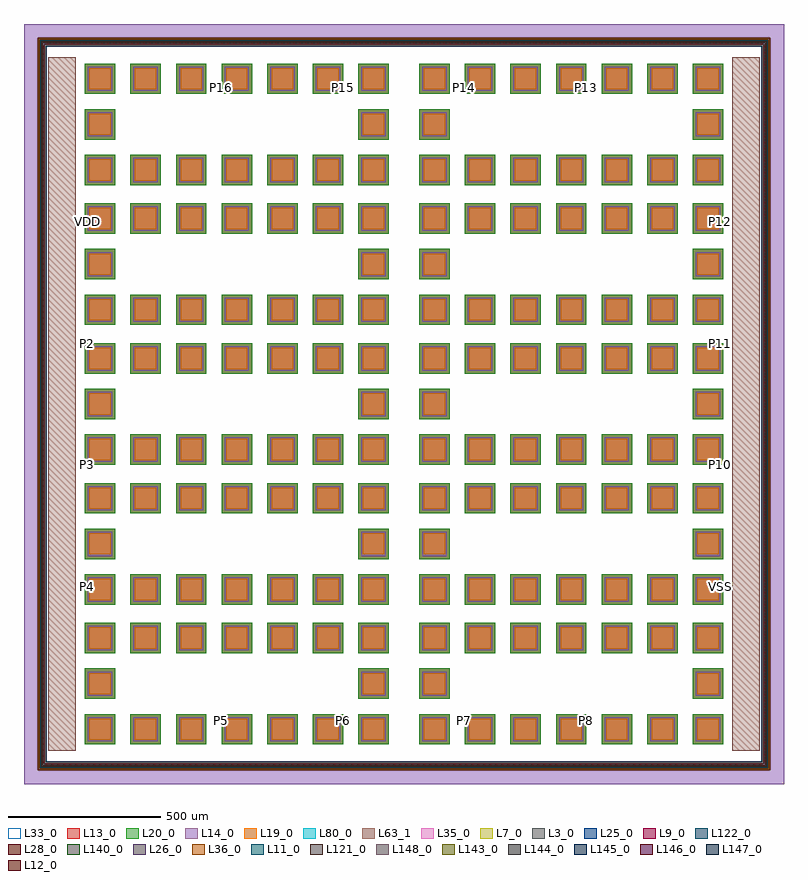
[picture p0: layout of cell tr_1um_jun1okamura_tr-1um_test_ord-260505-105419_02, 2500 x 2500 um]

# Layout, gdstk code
import gdstk
lib = gdstk.Library(unit=1e-6, precision=1e-09)
def R(c, l, rs):  # rectangles x0, y0, x1, y1
    for r in rs: c.add(gdstk.rectangle(r[:2], r[2:], *l))
def A(c, l, x, y, w, h, nx, ny, dx, dy):  # array of equal rectangles
    R(c, l, [(x+i*dx, y+j*dy, x+i*dx+w, y+j*dy+h) for i in range(nx) for j in range(ny)])
def P(c, l, *ps):  # polygons
    for p in ps: c.add(gdstk.Polygon(p, *l))
L3_0 = (3, 0)
L7_0 = (7, 0)
L9_0 = (9, 0)
L11_0 = (11, 0)
L12_0 = (12, 0)
L13_0 = (13, 0)
L14_0 = (14, 0)
L19_0 = (19, 0)
L20_0 = (20, 0)
L25_0 = (25, 0)
L26_0 = (26, 0)
L28_0 = (28, 0)
L33_0 = (33, 0)
L35_0 = (35, 0)
L36_0 = (36, 0)
L63_1 = (63, 1)
L80_0 = (80, 0)
L121_0 = (121, 0)
L122_0 = (122, 0)
L140_0 = (140, 0)
L143_0 = (143, 0)
L144_0 = (144, 0)
L145_0 = (145, 0)
L146_0 = (146, 0)
L147_0 = (147, 0)
L148_0 = (148, 0)

tr_1um_jun1okamura_tr_1u = lib.new_cell('tr_1um_jun1okamura_tr-1um_test_ord-260505-105419_02')
P(tr_1um_jun1okamura_tr_1u, L3_0, [(-1203,-1203),(-1203,1183),(-1183,1183),(-1183,-1183),(1183,-1183),(1183,1183),(-1203,1183),(-1203,1203),(1203,1203),(1203,-1203)])
P(tr_1um_jun1okamura_tr_1u, L7_0, [(-1205,-1205),(-1205,1181),(-1181,1181),(-1181,-1181),(1181,-1181),(1181,1181),(-1205,1181),(-1205,1205),(1205,1205),(1205,-1205)])
P(tr_1um_jun1okamura_tr_1u, L9_0, [(-1205,-1205),(-1205,1191.25),(-1191.25,1191.25),(-1191.25,-1191.25),(1191.25,-1191.25),(1191.25,1191.25),(-1205,1191.25),(-1205,1205),(1205,1205),(1205,-1205)])
R(tr_1um_jun1okamura_tr_1u, L11_0, [(-1195,-1195,-1189,1195), (-1195,-1195,1195,-1189), (1189,-1195,1195,1195), (-1195,1189,1195,1195)])
P(tr_1um_jun1okamura_tr_1u, L12_0, [(-1179,-1179),(-1179,1176.4),(-1176.4,1176.4),(-1176.4,-1176.4),(1176.4,-1176.4),(1176.4,1176.4),(-1179,1176.4),(-1179,1179),(1179,1179),(1179,-1179)])
A(tr_1um_jun1okamura_tr_1u, L13_0, -1050, -1120, 100, 100, 7, 2, 150, 300)
A(tr_1um_jun1okamura_tr_1u, L13_0, 50, -1120, 100, 100, 7, 2, 150, 300)
A(tr_1um_jun1okamura_tr_1u, L13_0, -1050, -970, 100, 100, 1, 5, 0, 460)
A(tr_1um_jun1okamura_tr_1u, L13_0, -150, -970, 100, 100, 1, 5, 0, 460)
A(tr_1um_jun1okamura_tr_1u, L13_0, 50, -970, 100, 100, 1, 5, 0, 460)
A(tr_1um_jun1okamura_tr_1u, L13_0, 950, -970, 100, 100, 1, 5, 0, 460)
A(tr_1um_jun1okamura_tr_1u, L13_0, -1050, -660, 100, 100, 7, 2, 150, 300)
A(tr_1um_jun1okamura_tr_1u, L13_0, 50, -660, 100, 100, 7, 2, 150, 300)
A(tr_1um_jun1okamura_tr_1u, L13_0, -1050, -200, 100, 100, 7, 2, 150, 300)
A(tr_1um_jun1okamura_tr_1u, L13_0, 50, -200, 100, 100, 7, 2, 150, 300)
A(tr_1um_jun1okamura_tr_1u, L13_0, -1050, 260, 100, 100, 7, 2, 150, 300)
A(tr_1um_jun1okamura_tr_1u, L13_0, 50, 260, 100, 100, 7, 2, 150, 300)
A(tr_1um_jun1okamura_tr_1u, L13_0, -1050, 720, 100, 100, 7, 2, 150, 300)
A(tr_1um_jun1okamura_tr_1u, L13_0, 50, 720, 100, 100, 7, 2, 150, 300)
R(tr_1um_jun1okamura_tr_1u, L13_0, [(-1198,-1198,-1183,1198), (-1198,-1198,1198,-1183), (1183,-1198,1198,1198), (-1198,1183,1198,1198)])
A(tr_1um_jun1okamura_tr_1u, L14_0, -1040, -1110, 80, 80, 7, 2, 150, 300)
A(tr_1um_jun1okamura_tr_1u, L14_0, 60, -1110, 80, 80, 7, 2, 150, 300)
A(tr_1um_jun1okamura_tr_1u, L14_0, -1040, -960, 80, 80, 1, 5, 0, 460)
A(tr_1um_jun1okamura_tr_1u, L14_0, -140, -960, 80, 80, 1, 5, 0, 460)
A(tr_1um_jun1okamura_tr_1u, L14_0, 60, -960, 80, 80, 1, 5, 0, 460)
A(tr_1um_jun1okamura_tr_1u, L14_0, 960, -960, 80, 80, 1, 5, 0, 460)
A(tr_1um_jun1okamura_tr_1u, L14_0, -1040, -650, 80, 80, 7, 2, 150, 300)
A(tr_1um_jun1okamura_tr_1u, L14_0, 60, -650, 80, 80, 7, 2, 150, 300)
A(tr_1um_jun1okamura_tr_1u, L14_0, -1040, -190, 80, 80, 7, 2, 150, 300)
A(tr_1um_jun1okamura_tr_1u, L14_0, 60, -190, 80, 80, 7, 2, 150, 300)
A(tr_1um_jun1okamura_tr_1u, L14_0, -1040, 270, 80, 80, 7, 2, 150, 300)
A(tr_1um_jun1okamura_tr_1u, L14_0, 60, 270, 80, 80, 7, 2, 150, 300)
A(tr_1um_jun1okamura_tr_1u, L14_0, -1040, 730, 80, 80, 7, 2, 150, 300)
A(tr_1um_jun1okamura_tr_1u, L14_0, 60, 730, 80, 80, 7, 2, 150, 300)
R(tr_1um_jun1okamura_tr_1u, L14_0, [(-1250,-1250,-1205,1250), (-1250,-1250,1250,-1205), (1205,-1250,1250,1250), (-1250,1205,1250,1250)])
A(tr_1um_jun1okamura_tr_1u, L19_0, -1035, -1105, 70, 70, 7, 2, 150, 300)
A(tr_1um_jun1okamura_tr_1u, L19_0, 65, -1105, 70, 70, 7, 2, 150, 300)
A(tr_1um_jun1okamura_tr_1u, L19_0, -1035, -955, 70, 70, 1, 5, 0, 460)
A(tr_1um_jun1okamura_tr_1u, L19_0, -135, -955, 70, 70, 1, 5, 0, 460)
A(tr_1um_jun1okamura_tr_1u, L19_0, 65, -955, 70, 70, 1, 5, 0, 460)
A(tr_1um_jun1okamura_tr_1u, L19_0, 965, -955, 70, 70, 1, 5, 0, 460)
A(tr_1um_jun1okamura_tr_1u, L19_0, -1035, -645, 70, 70, 7, 2, 150, 300)
A(tr_1um_jun1okamura_tr_1u, L19_0, 65, -645, 70, 70, 7, 2, 150, 300)
A(tr_1um_jun1okamura_tr_1u, L19_0, -1035, -185, 70, 70, 7, 2, 150, 300)
A(tr_1um_jun1okamura_tr_1u, L19_0, 65, -185, 70, 70, 7, 2, 150, 300)
A(tr_1um_jun1okamura_tr_1u, L19_0, -1035, 275, 70, 70, 7, 2, 150, 300)
A(tr_1um_jun1okamura_tr_1u, L19_0, 65, 275, 70, 70, 7, 2, 150, 300)
A(tr_1um_jun1okamura_tr_1u, L19_0, -1035, 735, 70, 70, 7, 2, 150, 300)
A(tr_1um_jun1okamura_tr_1u, L19_0, 65, 735, 70, 70, 7, 2, 150, 300)
R(tr_1um_jun1okamura_tr_1u, L19_0, [(-1187,-1187,-1185,1187), (-1187,-1187,1187,-1185), (1185,-1187,1187,1187), (-1187,1185,1187,1187)])
A(tr_1um_jun1okamura_tr_1u, L20_0, -1050, -1120, 100, 100, 7, 2, 150, 300)
A(tr_1um_jun1okamura_tr_1u, L20_0, 50, -1120, 100, 100, 7, 2, 150, 300)
A(tr_1um_jun1okamura_tr_1u, L20_0, -1050, -970, 100, 100, 1, 5, 0, 460)
A(tr_1um_jun1okamura_tr_1u, L20_0, -150, -970, 100, 100, 1, 5, 0, 460)
A(tr_1um_jun1okamura_tr_1u, L20_0, 50, -970, 100, 100, 1, 5, 0, 460)
A(tr_1um_jun1okamura_tr_1u, L20_0, 950, -970, 100, 100, 1, 5, 0, 460)
A(tr_1um_jun1okamura_tr_1u, L20_0, -1050, -660, 100, 100, 7, 2, 150, 300)
A(tr_1um_jun1okamura_tr_1u, L20_0, 50, -660, 100, 100, 7, 2, 150, 300)
A(tr_1um_jun1okamura_tr_1u, L20_0, -1050, -200, 100, 100, 7, 2, 150, 300)
A(tr_1um_jun1okamura_tr_1u, L20_0, 50, -200, 100, 100, 7, 2, 150, 300)
A(tr_1um_jun1okamura_tr_1u, L20_0, -1050, 260, 100, 100, 7, 2, 150, 300)
A(tr_1um_jun1okamura_tr_1u, L20_0, 50, 260, 100, 100, 7, 2, 150, 300)
A(tr_1um_jun1okamura_tr_1u, L20_0, -1050, 720, 100, 100, 7, 2, 150, 300)
A(tr_1um_jun1okamura_tr_1u, L20_0, 50, 720, 100, 100, 7, 2, 150, 300)
R(tr_1um_jun1okamura_tr_1u, L20_0, [(-1196,-1196,-1183,1196), (-1196,-1196,1196,-1183), (1183,-1196,1196,1196), (-1196,1183,1196,1196)])
R(tr_1um_jun1okamura_tr_1u, L25_0, [(-1205,-1205,-1198,1205), (-1205,-1205,1205,-1198), (1198,-1205,1205,1205), (-1205,1198,1205,1205)])
P(tr_1um_jun1okamura_tr_1u, L25_0, [(-1205,-1205),(-1205,1198),(-1198,1198),(-1198,-1198),(1198,-1198),(1198,1198),(-1205,1198),(-1205,1205),(1205,1205),(1205,-1205)])
R(tr_1um_jun1okamura_tr_1u, L26_0, [(-1205,-1205,-1198,1205), (-1205,-1205,1205,-1198), (1198,-1205,1205,1205), (-1205,1198,1205,1205)])
P(tr_1um_jun1okamura_tr_1u, L28_0, [(-1192.75,-1192.75),(-1192.75,1181),(-1181,1181),(-1181,-1181),(1181,-1181),(1181,1181),(-1192.75,1181),(-1192.75,1192.75),(1192.75,1192.75),(1192.75,-1192.75)])
R(tr_1um_jun1okamura_tr_1u, L33_0, [(-1176.4,-1176.4,1176.4,1176.4)])
P(tr_1um_jun1okamura_tr_1u, L33_0, [(-1205,-1205),(-1205,1181),(-1181,1181),(-1181,-1181),(1181,-1181),(1181,1181),(-1205,1181),(-1205,1205),(1205,1205),(1205,-1205)])
P(tr_1um_jun1okamura_tr_1u, L35_0, [(-1205,-1205),(-1205,1181),(-1181,1181),(-1181,-1181),(1181,-1181),(1181,1181),(-1205,1181),(-1205,1205),(1205,1205),(1205,-1205)])
P(tr_1um_jun1okamura_tr_1u, L36_0, [(-1205,-1205),(-1205,1198),(-1198,1198),(-1198,-1198),(1198,-1198),(1198,1198),(-1205,1198),(-1205,1205),(1205,1205),(1205,-1205)])
R(tr_1um_jun1okamura_tr_1u, L63_1, [(-1170,-1140,-1080,1140), (1080,-1140,1170,1140)])
R(tr_1um_jun1okamura_tr_1u, L80_0, [(-1205,-1205,-1176.4,1205), (-1205,-1205,-1176.4,1205), (-1205,-1205,1205,-1176.4), (-1205,-1205,1205,-1176.4), (1176.4,-1205,1205,1205), (1176.4,-1205,1205,1205), (-1205,1176.4,1205,1205), (-1205,1176.4,1205,1205)])
R(tr_1um_jun1okamura_tr_1u, L121_0, [(-1192.6,-1192.6,-1191.2,1192.6), (-1192.6,-1192.6,1192.6,-1191.2), (1191.2,-1192.6,1192.6,1192.6), (-1189.7,-1189.7,-1188.3,1189.7), (-1189.7,-1189.7,1189.7,-1188.3), (1188.3,-1189.7,1189.7,1189.7), (-1189.7,1188.3,1189.7,1189.7), (-1192.6,1191.2,1192.6,1192.6)])
R(tr_1um_jun1okamura_tr_1u, L122_0, [(-1196,-1196,-1183,1196), (-1196,-1196,1196,-1183), (1183,-1196,1196,1196), (-1196,1183,1196,1196)])
R(tr_1um_jun1okamura_tr_1u, L140_0, [(-1205,-1205,-1198,1205), (-1205,-1205,1205,-1198), (1198,-1205,1205,1205), (-1205,1198,1205,1205)])
P(tr_1um_jun1okamura_tr_1u, L143_0, [(-1179,-1179),(-1179,1176.4),(-1176.4,1176.4),(-1176.4,-1176.4),(1176.4,-1176.4),(1176.4,1176.4),(-1179,1176.4),(-1179,1179),(1179,1179),(1179,-1179)])
P(tr_1um_jun1okamura_tr_1u, L144_0, [(-1179,-1179),(-1179,1176.4),(-1176.4,1176.4),(-1176.4,-1176.4),(1176.4,-1176.4),(1176.4,1176.4),(-1179,1176.4),(-1179,1179),(1179,1179),(1179,-1179)])
P(tr_1um_jun1okamura_tr_1u, L145_0, [(-1179,-1179),(-1179,1176.4),(-1176.4,1176.4),(-1176.4,-1176.4),(1176.4,-1176.4),(1176.4,1176.4),(-1179,1176.4),(-1179,1179),(1179,1179),(1179,-1179)])
P(tr_1um_jun1okamura_tr_1u, L146_0, [(-1179,-1179),(-1179,1176.4),(-1176.4,1176.4),(-1176.4,-1176.4),(1176.4,-1176.4),(1176.4,1176.4),(-1179,1176.4),(-1179,1179),(1179,1179),(1179,-1179)])
P(tr_1um_jun1okamura_tr_1u, L147_0, [(-1179,-1179),(-1179,1176.4),(-1176.4,1176.4),(-1176.4,-1176.4),(1176.4,-1176.4),(1176.4,1176.4),(-1179,1176.4),(-1179,1179),(1179,1179),(1179,-1179)])
P(tr_1um_jun1okamura_tr_1u, L148_0, [(-1179,-1179),(-1179,1176.4),(-1176.4,1176.4),(-1176.4,-1176.4),(1176.4,-1176.4),(1176.4,1176.4),(-1179,1176.4),(-1179,1179),(1179,1179),(1179,-1179)])
tr_1um_jun1okamura_tr_1u.add(gdstk.Label('P16', (-600,1040), layer=49, texttype=0))
tr_1um_jun1okamura_tr_1u.add(gdstk.Label('VDD', (-1040,600), layer=49, texttype=0))
tr_1um_jun1okamura_tr_1u.add(gdstk.Label('VSS', (1040,-600), layer=49, texttype=0))
tr_1um_jun1okamura_tr_1u.add(gdstk.Label('P2', (-1040,200), layer=49, texttype=0))
tr_1um_jun1okamura_tr_1u.add(gdstk.Label('P3', (-1040,-200), layer=49, texttype=0))
tr_1um_jun1okamura_tr_1u.add(gdstk.Label('P4', (-1040,-600), layer=49, texttype=0))
tr_1um_jun1okamura_tr_1u.add(gdstk.Label('P5', (-600,-1040), layer=49, texttype=0))
tr_1um_jun1okamura_tr_1u.add(gdstk.Label('P6', (-200,-1040), layer=49, texttype=0))
tr_1um_jun1okamura_tr_1u.add(gdstk.Label('P7', (200,-1040), layer=49, texttype=0))
tr_1um_jun1okamura_tr_1u.add(gdstk.Label('P8', (600,-1040), layer=49, texttype=0))
tr_1um_jun1okamura_tr_1u.add(gdstk.Label('P10', (1040,-200), layer=49, texttype=0))
tr_1um_jun1okamura_tr_1u.add(gdstk.Label('P11', (1040,200), layer=49, texttype=0))
tr_1um_jun1okamura_tr_1u.add(gdstk.Label('P12', (1040,600), layer=49, texttype=0))
tr_1um_jun1okamura_tr_1u.add(gdstk.Label('P13', (600,1040), layer=49, texttype=0))
tr_1um_jun1okamura_tr_1u.add(gdstk.Label('P14', (200,1040), layer=49, texttype=0))
tr_1um_jun1okamura_tr_1u.add(gdstk.Label('P15', (-200,1040), layer=49, texttype=0))

lib.write_gds('tr_1um_jun1okamura_tr-1um_test_ord-260505-105419_02.gds')
